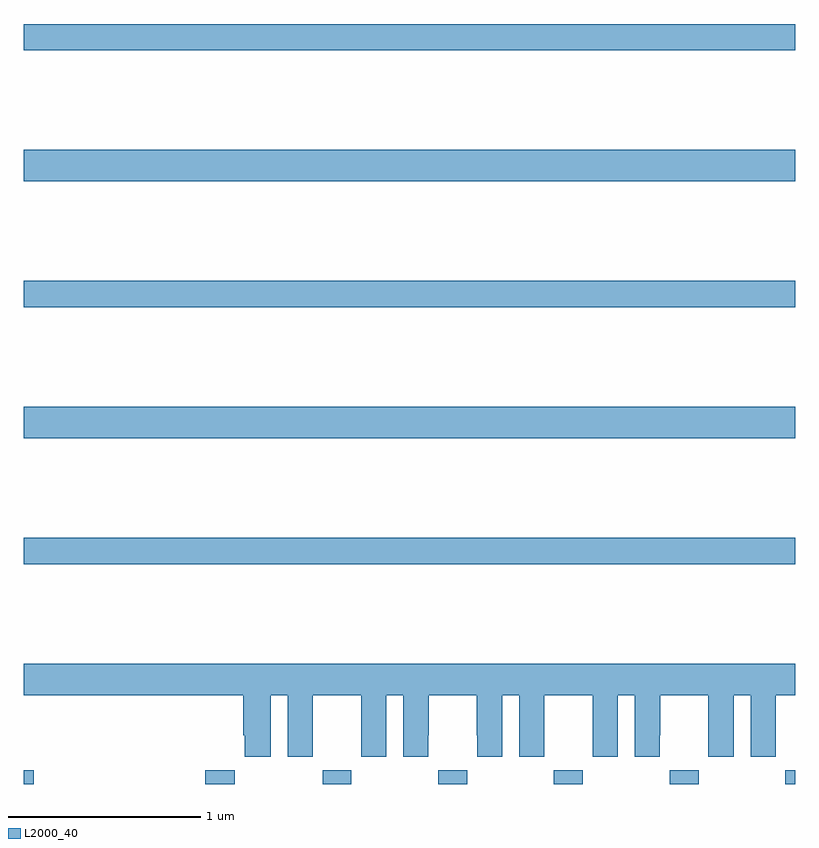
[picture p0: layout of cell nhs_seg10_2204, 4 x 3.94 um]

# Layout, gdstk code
import gdstk
lib = gdstk.Library(unit=1e-6, precision=1e-09)
def R(c, l, rs):  # rectangles x0, y0, x1, y1
    for r in rs: c.add(gdstk.rectangle(r[:2], r[2:], *l))
def A(c, l, x, y, w, h, nx, ny, dx, dy):  # array of equal rectangles
    R(c, l, [(x+i*dx, y+j*dy, x+i*dx+w, y+j*dy+h) for i in range(nx) for j in range(ny)])
def P(c, l, *ps):  # polygons
    for p in ps: c.add(gdstk.Polygon(p, *l))
L2000_40 = (2000, 40)

nhs_seg10_2204 = lib.new_cell('nhs_seg10_2204')
A(nhs_seg10_2204, L2000_40, 228.549, 1322.5, 0.15, 0.072, 4, 1, 0.6, 0)
A(nhs_seg10_2204, L2000_40, 227, 1323.64, 4, 0.136, 1, 3, 0, 1.332)
R(nhs_seg10_2204, L2000_40, [(227,1322.5,227.051,1322.572), (227.942,1322.5,228.095,1322.572), (230.949,1322.5,231,1322.572), (227,1324.292,231,1324.456), (227,1325.624,231,1325.788)])
P(nhs_seg10_2204, L2000_40, [(228.28,1322.96),(228.368,1322.96),(228.368,1322.64),(228.498,1322.64),(228.498,1322.752),(228.499,1322.752),(228.499,1322.96),(228.749,1322.96),(228.749,1322.752),(228.75,1322.752),(228.75,1322.64),(228.88,1322.64),(228.88,1322.96),(228.968,1322.96),(228.968,1322.64),(229.098,1322.64),(229.098,1322.752),(229.099,1322.752),(229.099,1322.96),(229.349,1322.96),(229.349,1322.752),(229.35,1322.752),(229.35,1322.64),(229.48,1322.64),(229.48,1322.96),(229.568,1322.96),(229.568,1322.64),(229.698,1322.64),(229.698,1322.752),(229.699,1322.752),(229.699,1322.96),(229.949,1322.96),(229.949,1322.752),(229.95,1322.752),(229.95,1322.64),(230.08,1322.64),(230.08,1322.96),(230.168,1322.96),(230.168,1322.64),(230.298,1322.64),(230.298,1322.752),(230.299,1322.752),(230.299,1322.96),(230.549,1322.96),(230.549,1322.752),(230.55,1322.752),(230.55,1322.64),(230.68,1322.64),(230.68,1322.96),(230.768,1322.96),(230.768,1322.64),(230.898,1322.64),(230.898,1322.752),(230.899,1322.752),(230.899,1322.96),(231,1322.96),(231,1323.124),(227,1323.124),(227,1322.96),(228.137,1322.96),(228.137,1322.752),(228.146,1322.752),(228.146,1322.64),(228.28,1322.64)])

lib.write_gds('nhs_seg10_2204.gds')
